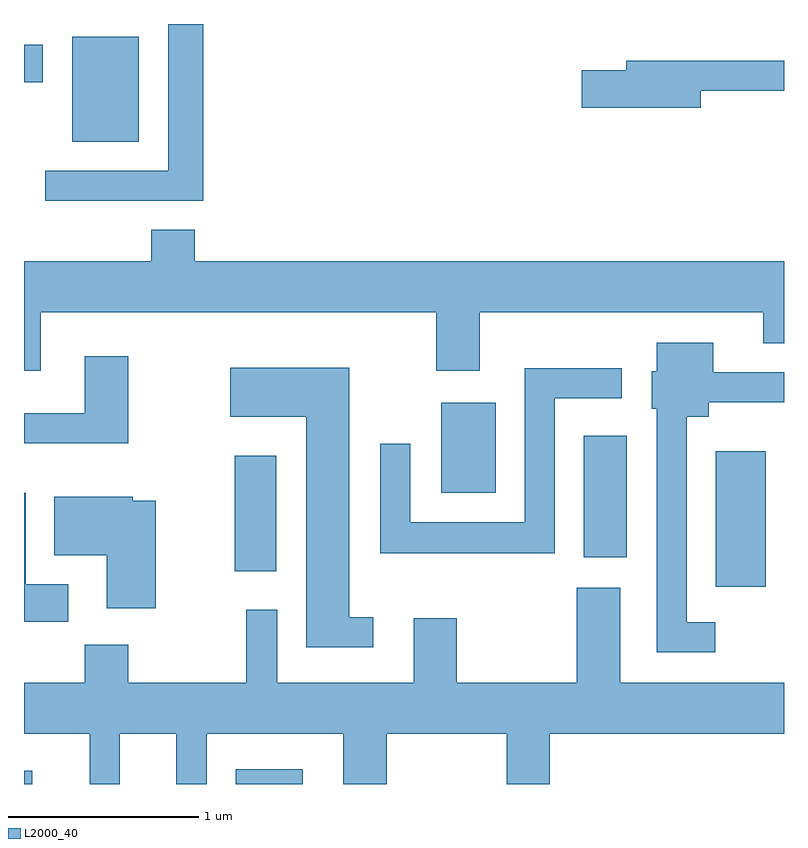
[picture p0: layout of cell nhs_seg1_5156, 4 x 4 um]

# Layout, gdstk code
import gdstk
lib = gdstk.Library(unit=1e-6, precision=1e-09)
def R(c, l, rs):  # rectangles x0, y0, x1, y1
    for r in rs: c.add(gdstk.rectangle(r[:2], r[2:], *l))
def P(c, l, *ps):  # polygons
    for p in ps: c.add(gdstk.Polygon(p, *l))
L2000_40 = (2000, 40)

nhs_seg1_5156 = lib.new_cell('nhs_seg1_5156')
R(nhs_seg1_5156, L2000_40, [(339.611,943.712,339.654,943.783), (340.726,943.712,341.078,943.789), (343.251,944.751,343.514,945.464), (340.721,944.831,340.939,945.439), (342.556,944.906,342.784,945.544), (341.806,945.246,342.094,945.719), (339.866,947.091,340.214,947.644), (339.611,947.406,339.709,947.604)])
P(nhs_seg1_5156, L2000_40, [(340.554,947.712),(340.371,947.712),(340.371,946.939),(339.723,946.939),(339.723,946.781),(340.554,946.781)],
  [(343.174,947.361),(343.611,947.361),(343.611,947.519),(342.781,947.519),(342.781,947.469),(342.546,947.469),(342.546,947.271),(343.174,947.271)],
  [(339.699,946.196),(341.781,946.196),(341.781,945.886),(342.009,945.886),(342.009,946.196),(343.501,946.196),(343.501,946.031),(343.611,946.031),(343.611,946.464),(340.509,946.464),(340.509,946.629),(340.281,946.629),(340.281,946.464),(339.611,946.464),(339.611,945.886),(339.699,945.886)],
  [(343.248,944.564),(343.099,944.564),(343.099,945.646),(343.214,945.646),(343.214,945.721),(343.611,945.721),(343.611,945.879),(343.239,945.879),(343.239,946.034),(342.941,946.034),(342.941,945.884),(342.916,945.884),(342.916,945.686),(342.941,945.686),(342.941,944.406),(343.248,944.406)],
  [(340.159,945.964),(339.931,945.964),(339.931,945.664),(339.611,945.664),(339.611,945.506),(340.159,945.506)],
  [(341.448,944.589),(341.324,944.589),(341.324,945.904),(340.696,945.904),(340.696,945.646),(341.096,945.646),(341.096,944.431),(341.448,944.431)],
  [(342.404,945.741),(342.758,945.741),(342.758,945.899),(342.246,945.899),(342.246,945.089),(341.644,945.089),(341.644,945.503),(341.486,945.503),(341.486,944.926),(342.404,944.926)],
  [(339.844,944.764),(339.619,944.764),(339.619,945.244),(339.611,945.244),(339.611,944.566),(339.844,944.566)],
  [(340.304,945.204),(340.184,945.204),(340.184,945.224),(339.771,945.224),(339.771,944.916),(340.046,944.916),(340.046,944.636),(340.304,944.636)],
  [(339.931,944.244),(339.611,944.244),(339.611,943.976),(339.956,943.976),(339.956,943.712),(340.114,943.712),(340.114,943.976),(340.411,943.976),(340.411,943.712),(340.574,943.712),(340.574,943.976),(341.291,943.976),(341.291,943.712),(341.519,943.712),(341.519,943.976),(342.151,943.976),(342.151,943.712),(342.379,943.712),(342.379,943.976),(343.611,943.976),(343.611,944.244),(342.749,944.244),(342.749,944.744),(342.521,944.744),(342.521,944.244),(341.889,944.244),(341.889,944.584),(341.661,944.584),(341.661,944.244),(340.944,944.244),(340.944,944.628),(340.781,944.628),(340.781,944.244),(340.159,944.244),(340.159,944.444),(339.931,944.444)])

lib.write_gds('nhs_seg1_5156.gds')
